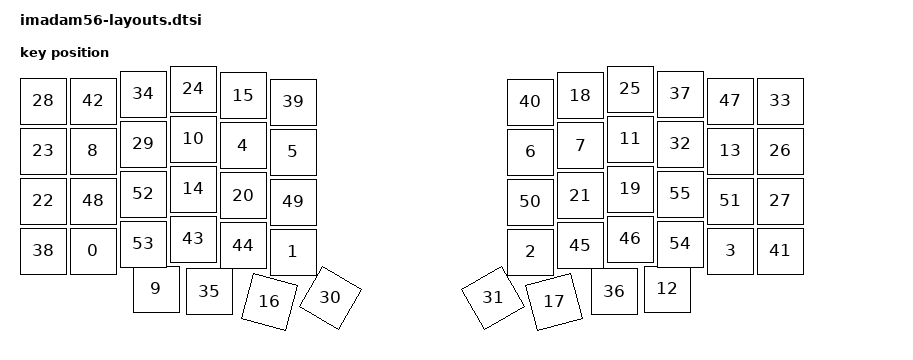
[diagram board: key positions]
#include <physical_layouts.dtsi>

/ {
    physical_layout0: physical_layout_0 {
        compatible = "zmk,physical-layout";
        display-name = "LAYOUT";

        kscan = <&kscan0>;
        transform = <&matrix_transform0>;

        keys  //                     w   h    x    y     rot    rx    ry
            = <&key_physical_attrs 100 100  100  324       0     0     0>
            , <&key_physical_attrs 100 100  500  326       0     0     0>
            , <&key_physical_attrs 100 100  975  326       0     0     0>
            , <&key_physical_attrs 100 100 1375  324       0     0     0>
            , <&key_physical_attrs 100 100  400  113       0     0     0>
            , <&key_physical_attrs 100 100  500  126       0     0     0>
            , <&key_physical_attrs 100 100  975  126       0     0     0>
            , <&key_physical_attrs 100 100 1075  113       0     0     0>
            , <&key_physical_attrs 100 100  100  124       0     0     0>
            , <&key_physical_attrs 100 100  226  400       0     0     0>
            , <&key_physical_attrs 100 100  300  100       0     0     0>
            , <&key_physical_attrs 100 100 1175  100       0     0     0>
            , <&key_physical_attrs 100 100 1248  400       0     0     0>
            , <&key_physical_attrs 100 100 1375  124       0     0     0>
            , <&key_physical_attrs 100 100  300  200       0     0     0>
            , <&key_physical_attrs 100 100  400   13       0     0     0>
            , <&key_physical_attrs 100 100  453  426    1500   503   476>
            , <&key_physical_attrs 100 100 1022  426 (-1500)  1072   476>
            , <&key_physical_attrs 100 100 1075   13       0     0     0>
            , <&key_physical_attrs 100 100 1175  200       0     0     0>
            , <&key_physical_attrs 100 100  400  213       0     0     0>
            , <&key_physical_attrs 100 100 1075  213       0     0     0>
            , <&key_physical_attrs 100 100    0  224       0     0     0>
            , <&key_physical_attrs 100 100    0  124       0     0     0>
            , <&key_physical_attrs 100 100  300    0       0     0     0>
            , <&key_physical_attrs 100 100 1175    0       0     0     0>
            , <&key_physical_attrs 100 100 1475  124       0     0     0>
            , <&key_physical_attrs 100 100 1475  224       0     0     0>
            , <&key_physical_attrs 100 100    0   24       0     0     0>
            , <&key_physical_attrs 100 100  200  110       0     0     0>
            , <&key_physical_attrs 100 100  575  418    3000   625   468>
            , <&key_physical_attrs 100 100  900  418 (-3000)   950   468>
            , <&key_physical_attrs 100 100 1275  110       0     0     0>
            , <&key_physical_attrs 100 100 1475   24       0     0     0>
            , <&key_physical_attrs 100 100  200   10       0     0     0>
            , <&key_physical_attrs 100 100  332  405       0     0     0>
            , <&key_physical_attrs 100 100 1143  405       0     0     0>
            , <&key_physical_attrs 100 100 1275   10       0     0     0>
            , <&key_physical_attrs 100 100    0  324       0     0     0>
            , <&key_physical_attrs 100 100  500   26       0     0     0>
            , <&key_physical_attrs 100 100  975   26       0     0     0>
            , <&key_physical_attrs 100 100 1475  324       0     0     0>
            , <&key_physical_attrs 100 100  100   24       0     0     0>
            , <&key_physical_attrs 100 100  300  300       0     0     0>
            , <&key_physical_attrs 100 100  400  313       0     0     0>
            , <&key_physical_attrs 100 100 1075  313       0     0     0>
            , <&key_physical_attrs 100 100 1175  300       0     0     0>
            , <&key_physical_attrs 100 100 1375   24       0     0     0>
            , <&key_physical_attrs 100 100  100  224       0     0     0>
            , <&key_physical_attrs 100 100  500  226       0     0     0>
            , <&key_physical_attrs 100 100  975  226       0     0     0>
            , <&key_physical_attrs 100 100 1375  224       0     0     0>
            , <&key_physical_attrs 100 100  200  210       0     0     0>
            , <&key_physical_attrs 100 100  200  310       0     0     0>
            , <&key_physical_attrs 100 100 1275  310       0     0     0>
            , <&key_physical_attrs 100 100 1275  210       0     0     0>
            ;
    };
};

